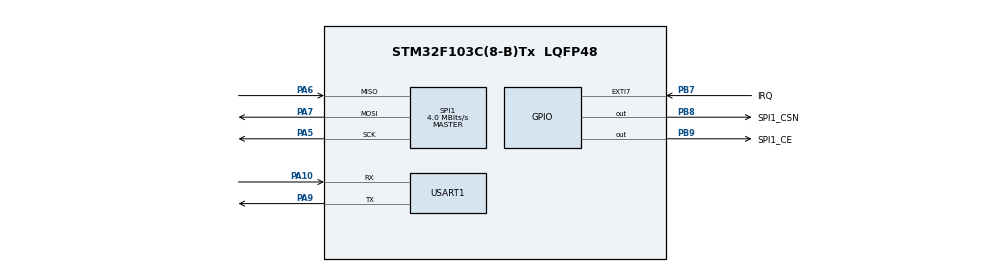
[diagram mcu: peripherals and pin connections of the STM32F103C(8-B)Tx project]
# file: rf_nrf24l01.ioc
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Mcu.Family=STM32F1
Mcu.Name=STM32F103C(8-B)Tx
Mcu.Package=LQFP48
NVIC.EXTI9_5_IRQn=true\:0\:0\:false\:false\:true\:true\:true\:true
NVIC.PriorityGroup=NVIC_PRIORITYGROUP_4
PA10.Mode=Asynchronous
PA10.Signal=USART1_RX
PA13.Mode=Serial_Wire
PA13.Signal=SYS_JTMS-SWDIO
PA14.Mode=Serial_Wire
PA14.Signal=SYS_JTCK-SWCLK
PA5.Mode=Full_Duplex_Master
PA5.Signal=SPI1_SCK
PA6.Mode=Full_Duplex_Master
PA6.Signal=SPI1_MISO
PA7.Mode=Full_Duplex_Master
PA7.Signal=SPI1_MOSI
PA9.Mode=Asynchronous
PA9.Signal=USART1_TX
PB7.GPIO_Label=IRQ
PB7.Signal=GPXTI7
PB8.GPIO_Label=SPI1_CSN
PB8.PinState=GPIO_PIN_SET
PB8.Signal=GPIO_Output
PB9.GPIO_Label=SPI1_CE
PB9.Signal=GPIO_Output
PD0-OSC_IN.Mode=HSE-External-Oscillator
PD0-OSC_IN.Signal=RCC_OSC_IN
PD1-OSC_OUT.Mode=HSE-External-Oscillator
PD1-OSC_OUT.Signal=RCC_OSC_OUT
ProjectManager.HeapSize=0x200
ProjectManager.StackSize=0x400
ProjectManager.TargetToolchain=STM32CubeIDE
RCC.APB1Freq_Value=8000000
RCC.APB2Freq_Value=8000000
SPI1.BaudRatePrescaler=SPI_BAUDRATEPRESCALER_2
SPI1.CalculateBaudRate=4.0 MBits/s
SPI1.Direction=SPI_DIRECTION_2LINES
SPI1.Mode=SPI_MODE_MASTER
SPI1.VirtualType=VM_MASTER
USART1.VirtualMode=VM_ASYNC
board=custom

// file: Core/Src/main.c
/* USER CODE BEGIN Header */
/**
  ******************************************************************************
  * @file           : main.c
  * @brief          : Main program body
  ******************************************************************************
  * @attention
  *
  * Copyright (c) 2025 STMicroelectronics.
  * All rights reserved.
  *
  * This software is licensed under terms that can be found in the LICENSE file
  * in the root directory of this software component.
  * If no LICENSE file comes with this software, it is provided AS-IS.
  *
  ******************************************************************************
  */
/* USER CODE END Header */
#include "main.h"

/* USER CODE BEGIN Includes */
#include <stdio.h>
#include "nrf24l01p.h"
/* USER CODE END Includes */

SPI_HandleTypeDef hspi1;

UART_HandleTypeDef huart1;

/* USER CODE BEGIN PV */
// data array to be sent
uint8_t tx_data[NRF24L01P_PAYLOAD_LENGTH] = {0, 1, 2, 3, 4, 5, 6, 7};
/* USER CODE END PV */

void SystemClock_Config(void);
static void MX_GPIO_Init(void);
static void MX_SPI1_Init(void);
static void MX_USART1_UART_Init(void);

/* USER CODE BEGIN 0 */

int __io_putchar(int ch)
{
  if (HAL_UART_Transmit(&huart1, (uint8_t*)&ch, 1, 0xFFFF) != 0) {
    return -1;
  }
  return ch;
}

void HAL_GPIO_EXTI_Callback(uint16_t GPIO_Pin)
{
	if(GPIO_Pin == NRF24L01P_IRQ_PIN_NUMBER)
		nrf24l01p_tx_irq(); // clear interrupt flag
}

/* USER CODE END 0 */

int main(void)
{

  /* MCU Configuration--------------------------------------------------------*/

  /* Reset of all peripherals, Initializes the Flash interface and the Systick. */
  HAL_Init();

  /* Configure the system clock */
  SystemClock_Config();

  /* Initialize all configured peripherals */
  MX_GPIO_Init();
  MX_SPI1_Init();
  MX_USART1_UART_Init();
  /* USER CODE BEGIN 2 */

  printf("Start\n");
  nrf24l01p_tx_init(2500, _1Mbps);

  /* USER CODE END 2 */

  /* Infinite loop */
  /* USER CODE BEGIN WHILE */

  while (1)
  {
      // change tx datas
	  printf("TX:");
      for(int i= 0; i < 8; i++)
      {
          tx_data[i]++;
          printf("%02X ", tx_data[i-1]);
      }
      printf("\n");

      // transmit
      nrf24l01p_tx_transmit(tx_data);
      HAL_Delay(500);

    /* USER CODE END WHILE */

  }
}

void SystemClock_Config(void)
{
  RCC_OscInitTypeDef RCC_OscInitStruct = {0};
  RCC_ClkInitTypeDef RCC_ClkInitStruct = {0};

  /** Initializes the RCC Oscillators according to the specified parameters
  * in the RCC_OscInitTypeDef structure.
  */
  RCC_OscInitStruct.OscillatorType = RCC_OSCILLATORTYPE_HSI;
  RCC_OscInitStruct.HSIState = RCC_HSI_ON;
  RCC_OscInitStruct.HSICalibrationValue = RCC_HSICALIBRATION_DEFAULT;
  RCC_OscInitStruct.PLL.PLLState = RCC_PLL_NONE;
  if (HAL_RCC_OscConfig(&RCC_OscInitStruct) != HAL_OK)
  {
    Error_Handler();
  }

  /** Initializes the CPU, AHB and APB buses clocks
  */
  RCC_ClkInitStruct.ClockType = RCC_CLOCKTYPE_HCLK|RCC_CLOCKTYPE_SYSCLK
                              |RCC_CLOCKTYPE_PCLK1|RCC_CLOCKTYPE_PCLK2;
  RCC_ClkInitStruct.SYSCLKSource = RCC_SYSCLKSOURCE_HSI;
  RCC_ClkInitStruct.AHBCLKDivider = RCC_SYSCLK_DIV1;
  RCC_ClkInitStruct.APB1CLKDivider = RCC_HCLK_DIV1;
  RCC_ClkInitStruct.APB2CLKDivider = RCC_HCLK_DIV1;

  if (HAL_RCC_ClockConfig(&RCC_ClkInitStruct, FLASH_LATENCY_0) != HAL_OK)
  {
    Error_Handler();
  }
}

static void MX_SPI1_Init(void)
{

  /* SPI1 parameter configuration*/
  hspi1.Instance = SPI1;
  hspi1.Init.Mode = SPI_MODE_MASTER;
  hspi1.Init.Direction = SPI_DIRECTION_2LINES;
  hspi1.Init.DataSize = SPI_DATASIZE_8BIT;
  hspi1.Init.CLKPolarity = SPI_POLARITY_LOW;
  hspi1.Init.CLKPhase = SPI_PHASE_1EDGE;
  hspi1.Init.NSS = SPI_NSS_SOFT;
  hspi1.Init.BaudRatePrescaler = SPI_BAUDRATEPRESCALER_2;
  hspi1.Init.FirstBit = SPI_FIRSTBIT_MSB;
  hspi1.Init.TIMode = SPI_TIMODE_DISABLE;
  hspi1.Init.CRCCalculation = SPI_CRCCALCULATION_DISABLE;
  hspi1.Init.CRCPolynomial = 10;
  if (HAL_SPI_Init(&hspi1) != HAL_OK)
  {
    Error_Handler();
  }

}

static void MX_USART1_UART_Init(void)
{

  huart1.Instance = USART1;
  huart1.Init.BaudRate = 115200;
  huart1.Init.WordLength = UART_WORDLENGTH_8B;
  huart1.Init.StopBits = UART_STOPBITS_1;
  huart1.Init.Parity = UART_PARITY_NONE;
  huart1.Init.Mode = UART_MODE_TX_RX;
  huart1.Init.HwFlowCtl = UART_HWCONTROL_NONE;
  huart1.Init.OverSampling = UART_OVERSAMPLING_16;
  if (HAL_UART_Init(&huart1) != HAL_OK)
  {
    Error_Handler();
  }

}

static void MX_GPIO_Init(void)
{
  GPIO_InitTypeDef GPIO_InitStruct = {0};

  /* GPIO Ports Clock Enable */
  __HAL_RCC_GPIOD_CLK_ENABLE();
  __HAL_RCC_GPIOA_CLK_ENABLE();
  __HAL_RCC_GPIOB_CLK_ENABLE();

  /*Configure GPIO pin Output Level */
  HAL_GPIO_WritePin(SPI1_CSN_GPIO_Port, SPI1_CSN_Pin, GPIO_PIN_SET);

  /*Configure GPIO pin Output Level */
  HAL_GPIO_WritePin(SPI1_CE_GPIO_Port, SPI1_CE_Pin, GPIO_PIN_RESET);

  /*Configure GPIO pin : IRQ_Pin */
  GPIO_InitStruct.Pin = IRQ_Pin;
  GPIO_InitStruct.Mode = GPIO_MODE_IT_RISING;
  GPIO_InitStruct.Pull = GPIO_NOPULL;
  HAL_GPIO_Init(IRQ_GPIO_Port, &GPIO_InitStruct);

  /*Configure GPIO pins : SPI1_CSN_Pin SPI1_CE_Pin */
  GPIO_InitStruct.Pin = SPI1_CSN_Pin|SPI1_CE_Pin;
  GPIO_InitStruct.Mode = GPIO_MODE_OUTPUT_PP;
  GPIO_InitStruct.Pull = GPIO_NOPULL;
  GPIO_InitStruct.Speed = GPIO_SPEED_FREQ_LOW;
  HAL_GPIO_Init(GPIOB, &GPIO_InitStruct);

  /* EXTI interrupt init*/
  HAL_NVIC_SetPriority(EXTI9_5_IRQn, 0, 0);
  HAL_NVIC_EnableIRQ(EXTI9_5_IRQn);

}

void Error_Handler(void)
{
  __disable_irq();
  while (1)
  {
  }
}
